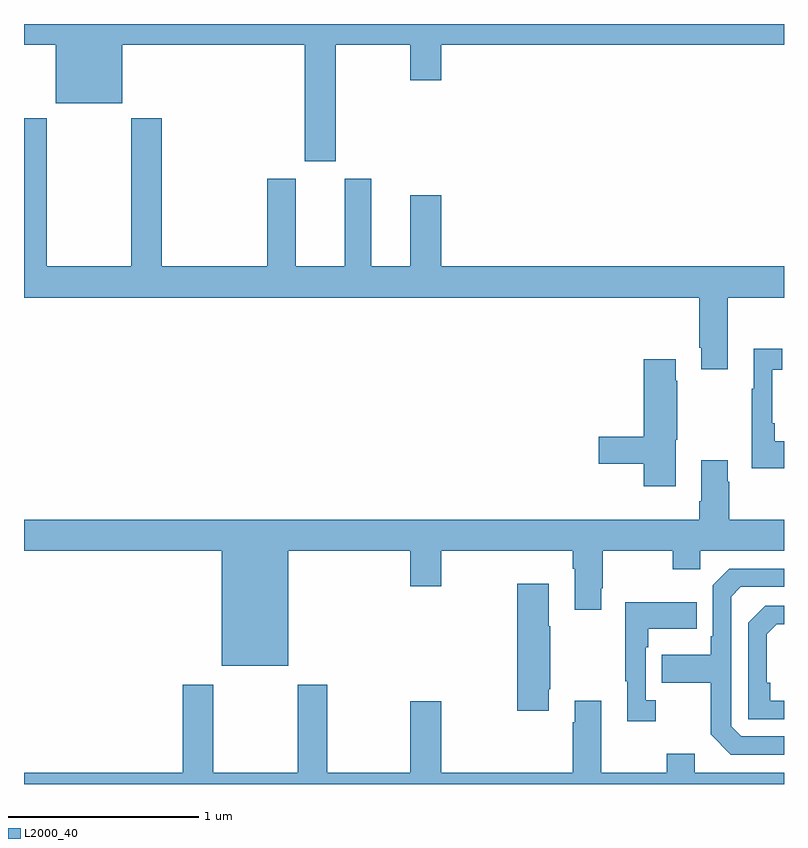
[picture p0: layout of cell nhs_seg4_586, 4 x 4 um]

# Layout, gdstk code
import gdstk
lib = gdstk.Library(unit=1e-6, precision=1e-09)
def P(c, l, *ps):  # polygons
    for p in ps: c.add(gdstk.Polygon(p, *l))
L2000_40 = (2000, 40)

nhs_seg4_586 = lib.new_cell('nhs_seg4_586')
P(nhs_seg4_586, L2000_40, [(140.641,824.792),(141.032,824.792),(141.032,824.604),(141.196,824.604),(141.196,824.792),(143,824.792),(143,824.9),(139,824.9),(139,824.792),(139.166,824.792),(139.166,824.483),(139.516,824.483),(139.516,824.792),(140.477,824.792),(140.477,824.178),(140.641,824.178)],
  [(141.196,823.999),(141.032,823.999),(141.032,823.624),(140.827,823.624),(140.827,824.086),(140.687,824.086),(140.687,823.624),(140.431,823.624),(140.431,824.086),(140.279,824.086),(140.279,823.624),(139.724,823.624),(139.724,824.404),(139.564,824.404),(139.564,823.624),(139.119,823.624),(139.119,824.404),(139,824.404),(139,823.46),(142.553,823.46),(142.553,823.195),(142.565,823.195),(142.565,823.083),(142.705,823.083),(142.705,823.46),(143,823.46),(143,823.624),(141.196,823.624)],
  [(143,822.703),(142.951,822.703),(142.951,822.799),(142.938,822.799),(142.938,823.079),(142.99,823.079),(142.99,823.192),(142.841,823.192),(142.841,822.979),(142.83,822.979),(142.83,822.563),(143,822.563)],
  [(142.429,822.711),(142.437,822.711),(142.437,823.022),(142.429,823.022),(142.429,823.135),(142.262,823.135),(142.262,822.728),(142.026,822.728),(142.026,822.586),(142.262,822.586),(142.262,822.468),(142.429,822.468)],
  [(140.392,822.128),(141.032,822.128),(141.032,821.94),(141.196,821.94),(141.196,822.128),(141.887,822.128),(141.887,822.032),(141.899,822.032),(141.899,821.817),(142.039,821.817),(142.039,821.929),(142.047,821.929),(142.047,822.128),(142.414,822.128),(142.414,822.029),(142.56,822.029),(142.56,822.128),(143,822.128),(143,822.292),(142.713,822.292),(142.713,822.491),(142.705,822.491),(142.705,822.604),(142.565,822.604),(142.565,822.388),(142.553,822.388),(142.553,822.292),(139,822.292),(139,822.128),(140.042,822.128),(140.042,821.522),(140.392,821.522)],
  [(143,821.151),(142.776,821.151),(142.722,821.205),(142.722,821.886),(142.773,821.937),(143,821.937),(143,822.033),(142.713,822.033),(142.626,821.946),(142.626,821.677),(142.614,821.677),(142.614,821.581),(142.357,821.581),(142.357,821.434),(142.614,821.434),(142.614,821.161),(142.719,821.055),(143,821.055)],
  [(141.763,821.398),(141.771,821.398),(141.771,821.729),(141.763,821.729),(141.763,821.953),(141.596,821.953),(141.596,821.286),(141.763,821.286)],
  [(142.324,821.342),(142.272,821.342),(142.272,821.621),(142.285,821.621),(142.285,821.717),(142.541,821.717),(142.541,821.857),(142.164,821.857),(142.164,821.441),(142.175,821.441),(142.175,821.229),(142.324,821.229)],
  [(143,821.337),(142.928,821.337),(142.928,821.434),(142.908,821.434),(142.908,821.688),(142.961,821.741),(143,821.741),(143,821.838),(142.902,821.838),(142.812,821.748),(142.812,821.241),(143,821.241)],
  [(143,820.96),(142.531,820.96),(142.531,821.059),(142.384,821.059),(142.384,820.96),(142.039,820.96),(142.039,821.338),(141.899,821.338),(141.899,821.225),(141.887,821.225),(141.887,820.96),(141.196,820.96),(141.196,821.335),(141.032,821.335),(141.032,820.96),(140.595,820.96),(140.595,821.422),(140.44,821.422),(140.44,820.96),(139.995,820.96),(139.995,821.422),(139.835,821.422),(139.835,820.96),(139,820.96),(139,820.9),(143,820.9)])

lib.write_gds('nhs_seg4_586.gds')
